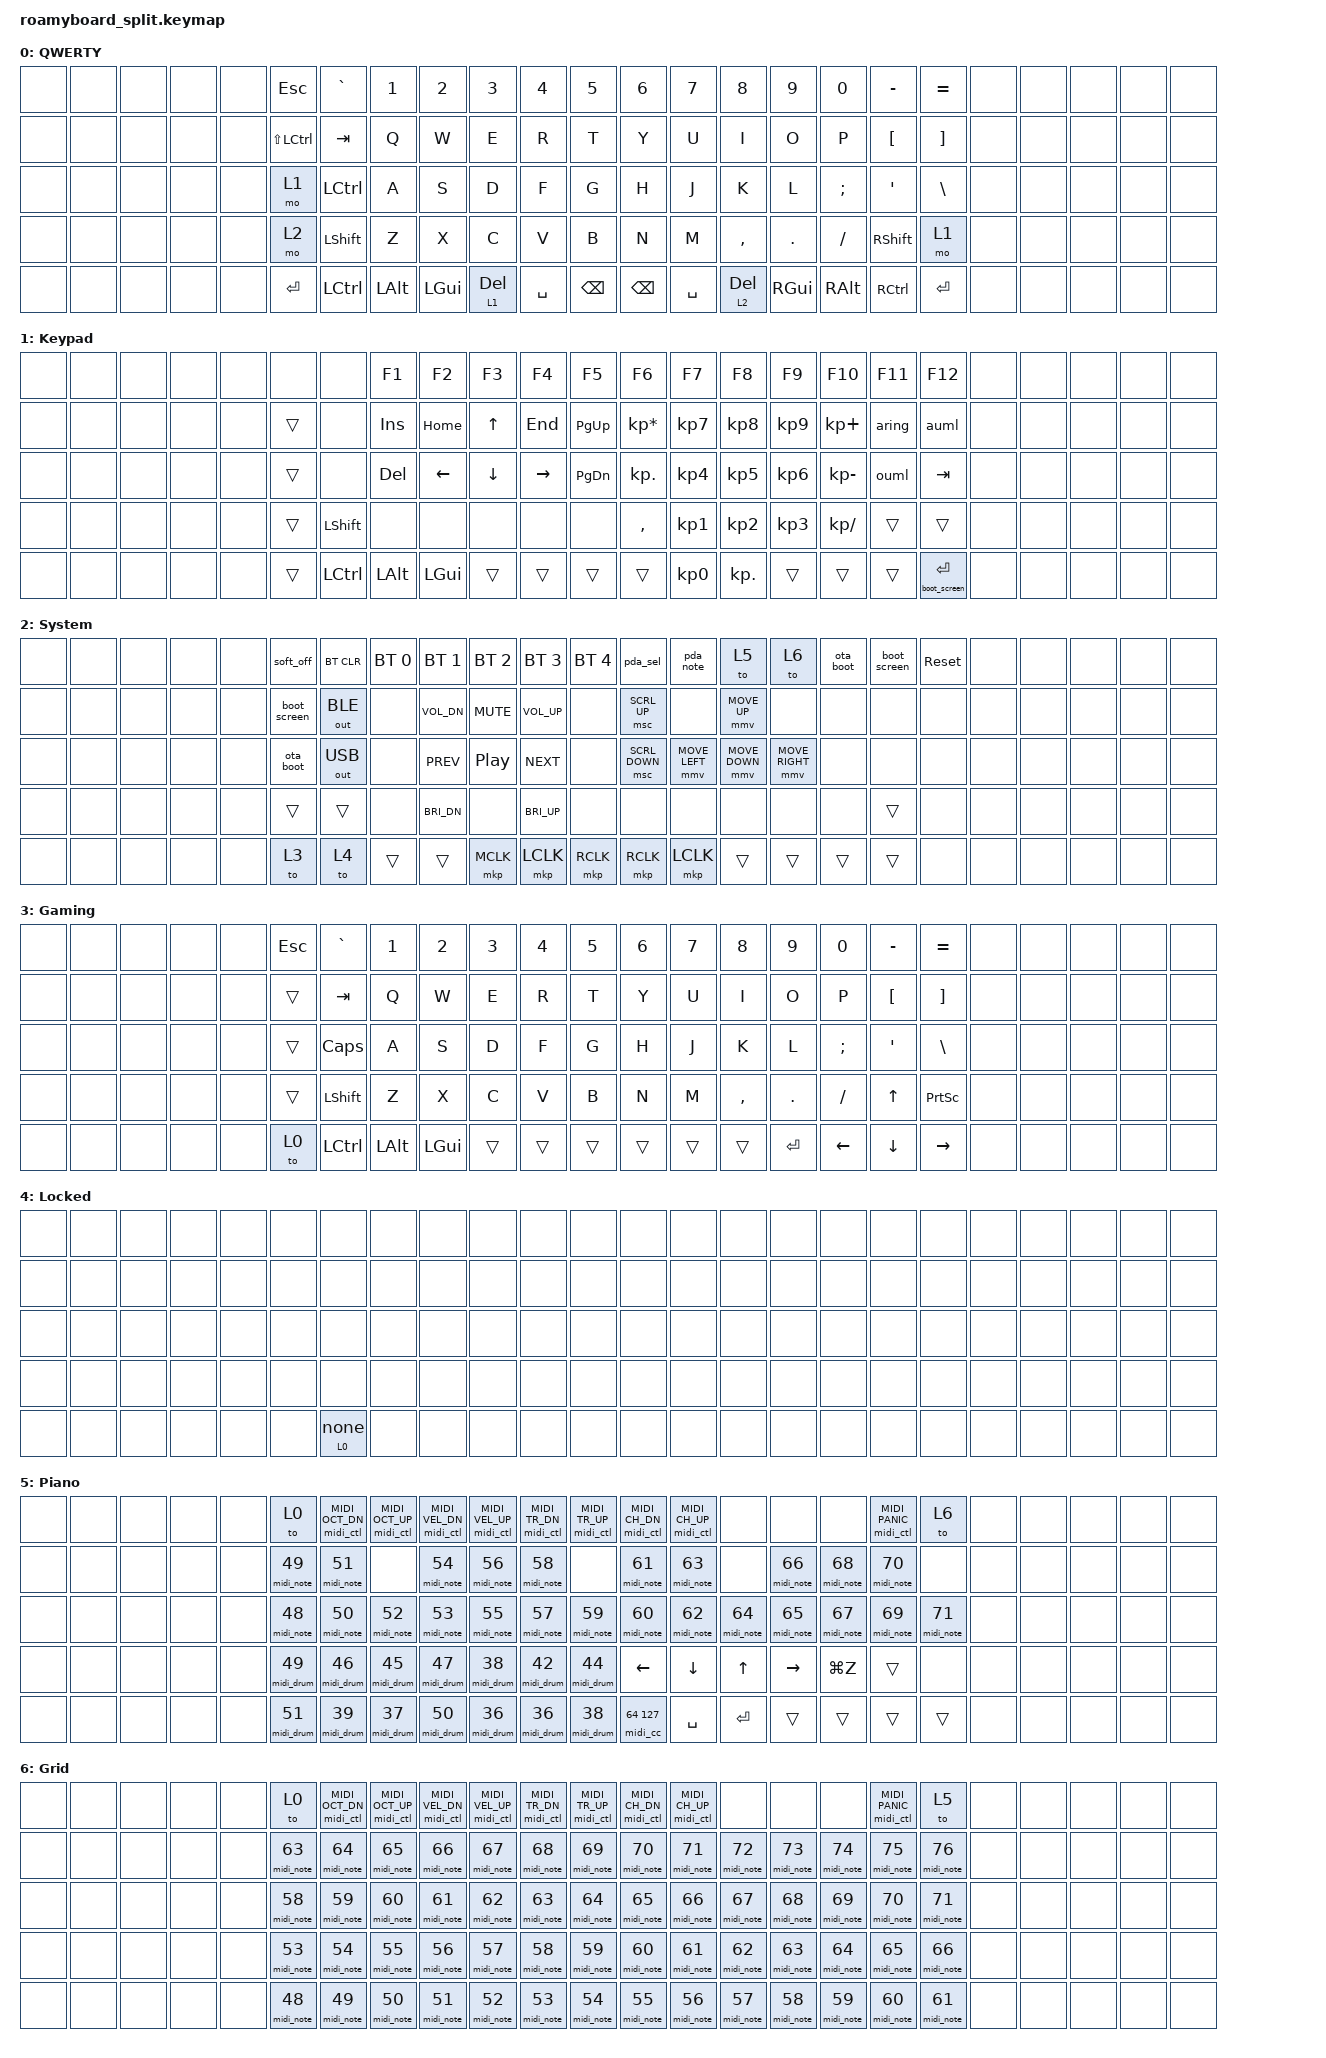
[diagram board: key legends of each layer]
/*
 * Keymap for the split roamyboard; zmk/Layout.md shows the layers and explains them.
 *
 * Positions are 5 rows of 24 keymap columns: row * 24 + column, one line per row,
 * with a gap between the left half (0 to 11) and the right half (12 to 23). Each half
 * uses 7 key modules: the left half keymap columns 5 to 11, the right half 12 to 18.
 * Keys of key modules that are not attached never fire.
 *
 * SPDX-License-Identifier: MIT
 */

#include <behaviors.dtsi>
#include <behaviors/boot_screen.dtsi>
#include <behaviors/midi.dtsi>
#include <behaviors/pda.dtsi>
#include <dt-bindings/zmk/bt.h>
#include <dt-bindings/zmk/keys.h>
#include <dt-bindings/zmk/outputs.h>
#include <dt-bindings/zmk/pointing.h>

/ {
    behaviors {
        // Tap for Return; hold past the tapping term for the bootloader.
        ret_boot: ret_boot {
            compatible = "zmk,behavior-hold-tap";
            display-name = "Return or bootloader";
            #binding-cells = <2>;
            flavor = "tap-preferred";
            tapping-term-ms = <1500>;
            bindings = <&boot_screen>, <&kp>;
        };
        // Tap for forward delete, hold for a layer; a hold past the tapping term never deletes.
        thumb_lt: thumb_lt {
            compatible = "zmk,behavior-hold-tap";
            display-name = "Delete or layer";
            #binding-cells = <2>;
            flavor = "hold-preferred";
            tapping-term-ms = <200>;
            bindings = <&mo>, <&kp>;
        };
        // Hold for 1 s to leave the Locked layer; a tap does nothing.
        unlock: unlock {
            compatible = "zmk,behavior-hold-tap";
            display-name = "Unlock";
            #binding-cells = <2>;
            flavor = "tap-preferred";
            tapping-term-ms = <1000>;
            bindings = <&to>, <&none>;
        };
        // Swedish letters typed as macOS Option dead keys on ABC - Extended; zmk/Layout.md explains.
        aring_l: aring_l {
            compatible = "zmk,behavior-macro";
            display-name = "Swedish a-ring";
            #binding-cells = <0>;
            wait-ms = <0>;
            tap-ms = <10>;
            bindings = <&macro_tap &kp LA(K) &kp A>;
        };
        aring_u: aring_u {
            compatible = "zmk,behavior-macro";
            display-name = "Swedish capital A-ring";
            #binding-cells = <0>;
            wait-ms = <0>;
            tap-ms = <10>;
            bindings = <&macro_tap &kp LA(K) &kp LS(A)>;
        };
        auml_l: auml_l {
            compatible = "zmk,behavior-macro";
            display-name = "Swedish a-umlaut";
            #binding-cells = <0>;
            wait-ms = <0>;
            tap-ms = <10>;
            bindings = <&macro_tap &kp LA(U) &kp A>;
        };
        auml_u: auml_u {
            compatible = "zmk,behavior-macro";
            display-name = "Swedish capital A-umlaut";
            #binding-cells = <0>;
            wait-ms = <0>;
            tap-ms = <10>;
            bindings = <&macro_tap &kp LA(U) &kp LS(A)>;
        };
        ouml_l: ouml_l {
            compatible = "zmk,behavior-macro";
            display-name = "Swedish o-umlaut";
            #binding-cells = <0>;
            wait-ms = <0>;
            tap-ms = <10>;
            bindings = <&macro_tap &kp LA(U) &kp O>;
        };
        ouml_u: ouml_u {
            compatible = "zmk,behavior-macro";
            display-name = "Swedish capital O-umlaut";
            #binding-cells = <0>;
            wait-ms = <0>;
            tap-ms = <10>;
            bindings = <&macro_tap &kp LA(U) &kp LS(O)>;
        };
        aring: aring {
            compatible = "zmk,behavior-mod-morph";
            display-name = "Swedish a-ring";
            #binding-cells = <0>;
            bindings = <&aring_l>, <&aring_u>;
            mods = <(MOD_LSFT|MOD_RSFT)>;
        };
        auml: auml {
            compatible = "zmk,behavior-mod-morph";
            display-name = "Swedish a-umlaut";
            #binding-cells = <0>;
            bindings = <&auml_l>, <&auml_u>;
            mods = <(MOD_LSFT|MOD_RSFT)>;
        };
        ouml: ouml {
            compatible = "zmk,behavior-mod-morph";
            display-name = "Swedish o-umlaut";
            #binding-cells = <0>;
            bindings = <&ouml_l>, <&ouml_u>;
            mods = <(MOD_LSFT|MOD_RSFT)>;
        };
    };

    keymap {
        compatible = "zmk,keymap";

        qwerty {
            display-name = "QWERTY";
            bindings = <
            &none  &none  &none  &none  &none  &kp ESC        &kp GRAVE  &kp N1    &kp N2    &kp N3           &kp N4     &kp N5        &kp N6    &kp N7     &kp N8           &kp N9    &kp N0    &kp MINUS  &kp EQUAL  &none  &none  &none  &none  &none
            &none  &none  &none  &none  &none  &kp LS(LCTRL)  &kp TAB    &kp Q     &kp W     &kp E            &kp R      &kp T         &kp Y     &kp U      &kp I            &kp O     &kp P     &kp LBKT   &kp RBKT   &none  &none  &none  &none  &none
            &none  &none  &none  &none  &none  &mo 1          &kp LCTRL  &kp A     &kp S     &kp D            &kp F      &kp G         &kp H     &kp J      &kp K            &kp L     &kp SEMI  &kp SQT    &kp BSLH   &none  &none  &none  &none  &none
            &none  &none  &none  &none  &none  &mo 2          &kp LSHFT  &kp Z     &kp X     &kp C            &kp V      &kp B         &kp N     &kp M      &kp COMMA        &kp DOT   &kp FSLH  &kp RSHFT  &mo 1      &none  &none  &none  &none  &none
            &none  &none  &none  &none  &none  &kp RET        &kp LCTRL  &kp LALT  &kp LGUI  &thumb_lt 1 DEL  &kp SPACE  &kp BSPC      &kp BSPC  &kp SPACE  &thumb_lt 2 DEL  &kp RGUI  &kp RALT  &kp RCTRL  &kp RET    &none  &none  &none  &none  &none
            >;
        };

        keypad_layer: keypad {
            display-name = "Keypad";
            bindings = <
            &none  &none  &none  &none  &none  &none   &none      &kp F1    &kp F2    &kp F3    &kp F4     &kp F5         &kp F6           &kp F7     &kp F8      &kp F9     &kp F10        &kp F11  &kp F12          &none  &none  &none  &none  &none
            &none  &none  &none  &none  &none  &trans  &none      &kp INS   &kp HOME  &kp UP    &kp END    &kp PG_UP      &kp KP_MULTIPLY  &kp KP_N7  &kp KP_N8   &kp KP_N9  &kp KP_PLUS    &aring   &auml            &none  &none  &none  &none  &none
            &none  &none  &none  &none  &none  &trans  &none      &kp DEL   &kp LEFT  &kp DOWN  &kp RIGHT  &kp PG_DN      &kp KP_DOT       &kp KP_N4  &kp KP_N5   &kp KP_N6  &kp KP_MINUS   &ouml    &kp TAB          &none  &none  &none  &none  &none
            &none  &none  &none  &none  &none  &trans  &kp LSHFT  &none     &none     &none     &none      &none          &kp COMMA        &kp KP_N1  &kp KP_N2   &kp KP_N3  &kp KP_DIVIDE  &trans   &trans           &none  &none  &none  &none  &none
            &none  &none  &none  &none  &none  &trans  &kp LCTRL  &kp LALT  &kp LGUI  &trans    &trans     &trans         &trans           &kp KP_N0  &kp KP_DOT  &trans     &trans         &trans   &ret_boot 0 RET  &none  &none  &none  &none  &none
            >;
        };

        system_layer: system {
            display-name = "System";
            bindings = <
            &none  &none  &none  &none  &none  &soft_off     &bt BT_CLR    &bt BT_SEL 0  &bt BT_SEL 1  &bt BT_SEL 2  &bt BT_SEL 3  &bt BT_SEL 4      &pda_sel        &pda_note       &to 5           &to 6            &ota_boot  &boot_screen  &sys_reset  &none  &none  &none  &none  &none
            &none  &none  &none  &none  &none  &boot_screen  &out OUT_BLE  &none         &kp C_VOL_DN  &kp C_MUTE    &kp C_VOL_UP  &none             &msc SCRL_UP    &none           &mmv MOVE_UP    &none            &none      &none         &none       &none  &none  &none  &none  &none
            &none  &none  &none  &none  &none  &ota_boot     &out OUT_USB  &none         &kp C_PREV    &kp C_PP      &kp C_NEXT    &none             &msc SCRL_DOWN  &mmv MOVE_LEFT  &mmv MOVE_DOWN  &mmv MOVE_RIGHT  &none      &none         &none       &none  &none  &none  &none  &none
            &none  &none  &none  &none  &none  &trans        &trans        &none         &kp C_BRI_DN  &none         &kp C_BRI_UP  &none             &none           &none           &none           &none            &none      &trans        &none       &none  &none  &none  &none  &none
            &none  &none  &none  &none  &none  &to 3         &to 4         &trans        &trans        &mkp MCLK     &mkp LCLK     &mkp RCLK         &mkp RCLK       &mkp LCLK       &trans          &trans           &trans     &trans        &none       &none  &none  &none  &none  &none
            >;
        };

        gaming_layer: gaming {
            display-name = "Gaming";
            bindings = <
            &none  &none  &none  &none  &none  &kp ESC  &kp GRAVE  &kp N1    &kp N2    &kp N3  &kp N4  &kp N5      &kp N6  &kp N7  &kp N8     &kp N9   &kp N0    &kp MINUS  &kp EQUAL  &none  &none  &none  &none  &none
            &none  &none  &none  &none  &none  &trans   &kp TAB    &kp Q     &kp W     &kp E   &kp R   &kp T       &kp Y   &kp U   &kp I      &kp O    &kp P     &kp LBKT   &kp RBKT   &none  &none  &none  &none  &none
            &none  &none  &none  &none  &none  &trans   &kp CAPS   &kp A     &kp S     &kp D   &kp F   &kp G       &kp H   &kp J   &kp K      &kp L    &kp SEMI  &kp SQT    &kp BSLH   &none  &none  &none  &none  &none
            &none  &none  &none  &none  &none  &trans   &kp LSHFT  &kp Z     &kp X     &kp C   &kp V   &kp B       &kp N   &kp M   &kp COMMA  &kp DOT  &kp FSLH  &kp UP     &kp PSCRN  &none  &none  &none  &none  &none
            &none  &none  &none  &none  &none  &to 0    &kp LCTRL  &kp LALT  &kp LGUI  &trans  &trans  &trans      &trans  &trans  &trans     &kp RET  &kp LEFT  &kp DOWN   &kp RIGHT  &none  &none  &none  &none  &none
            >;
        };

        // Every key does nothing except the left half's row 5 Control key, which returns to QWERTY when held for 1 s.
        locked_layer: locked {
            display-name = "Locked";
            bindings = <
            &none  &none  &none  &none  &none  &none  &none        &none  &none  &none  &none  &none      &none  &none  &none  &none  &none  &none  &none  &none  &none  &none  &none  &none
            &none  &none  &none  &none  &none  &none  &none        &none  &none  &none  &none  &none      &none  &none  &none  &none  &none  &none  &none  &none  &none  &none  &none  &none
            &none  &none  &none  &none  &none  &none  &none        &none  &none  &none  &none  &none      &none  &none  &none  &none  &none  &none  &none  &none  &none  &none  &none  &none
            &none  &none  &none  &none  &none  &none  &none        &none  &none  &none  &none  &none      &none  &none  &none  &none  &none  &none  &none  &none  &none  &none  &none  &none
            &none  &none  &none  &none  &none  &none  &unlock 0 0  &none  &none  &none  &none  &none      &none  &none  &none  &none  &none  &none  &none  &none  &none  &none  &none  &none
            >;
        };

        // MIDI: two octaves of piano keys from C3, drums on channel 10, and DAW keys; docs/midi.md.
        piano_layer: piano {
            display-name = "Piano";
            bindings = <
            &none  &none  &none  &none  &none  &to 0          &midi_ctl MIDI_OCT_DN  &midi_ctl MIDI_OCT_UP  &midi_ctl MIDI_VEL_DN  &midi_ctl MIDI_VEL_UP  &midi_ctl MIDI_TR_DN  &midi_ctl MIDI_TR_UP      &midi_ctl MIDI_CH_DN  &midi_ctl MIDI_CH_UP  &none          &none          &none          &midi_ctl MIDI_PANIC  &to 6          &none  &none  &none  &none  &none
            &none  &none  &none  &none  &none  &midi_note 49  &midi_note 51          &none                  &midi_note 54          &midi_note 56          &midi_note 58         &none      &midi_note 61         &midi_note 63         &none          &midi_note 66  &midi_note 68  &midi_note 70         &none          &none  &none  &none  &none  &none
            &none  &none  &none  &none  &none  &midi_note 48  &midi_note 50          &midi_note 52          &midi_note 53          &midi_note 55          &midi_note 57         &midi_note 59      &midi_note 60         &midi_note 62         &midi_note 64  &midi_note 65  &midi_note 67  &midi_note 69         &midi_note 71  &none  &none  &none  &none  &none
            &none  &none  &none  &none  &none  &midi_drum 49  &midi_drum 46          &midi_drum 45          &midi_drum 47          &midi_drum 38          &midi_drum 42         &midi_drum 44      &kp LEFT              &kp DOWN              &kp UP         &kp RIGHT      &kp LG(Z)      &trans                &none          &none  &none  &none  &none  &none
            &none  &none  &none  &none  &none  &midi_drum 51  &midi_drum 39          &midi_drum 37          &midi_drum 50          &midi_drum 36          &midi_drum 36         &midi_drum 38      &midi_cc 64 127       &kp SPACE             &kp RET        &trans         &trans         &trans                &trans         &none  &none  &none  &none  &none
            >;
        };

        // MIDI: a semitone per column and a fourth per row, from C3 at the left end of row 5; docs/midi.md.
        grid_layer: grid {
            display-name = "Grid";
            bindings = <
            &none  &none  &none  &none  &none  &to 0          &midi_ctl MIDI_OCT_DN  &midi_ctl MIDI_OCT_UP  &midi_ctl MIDI_VEL_DN  &midi_ctl MIDI_VEL_UP  &midi_ctl MIDI_TR_DN  &midi_ctl MIDI_TR_UP      &midi_ctl MIDI_CH_DN  &midi_ctl MIDI_CH_UP  &none          &none          &none          &midi_ctl MIDI_PANIC  &to 5          &none  &none  &none  &none  &none
            &none  &none  &none  &none  &none  &midi_note 63  &midi_note 64          &midi_note 65          &midi_note 66          &midi_note 67          &midi_note 68         &midi_note 69      &midi_note 70         &midi_note 71         &midi_note 72  &midi_note 73  &midi_note 74  &midi_note 75         &midi_note 76  &none  &none  &none  &none  &none
            &none  &none  &none  &none  &none  &midi_note 58  &midi_note 59          &midi_note 60          &midi_note 61          &midi_note 62          &midi_note 63         &midi_note 64      &midi_note 65         &midi_note 66         &midi_note 67  &midi_note 68  &midi_note 69  &midi_note 70         &midi_note 71  &none  &none  &none  &none  &none
            &none  &none  &none  &none  &none  &midi_note 53  &midi_note 54          &midi_note 55          &midi_note 56          &midi_note 57          &midi_note 58         &midi_note 59      &midi_note 60         &midi_note 61         &midi_note 62  &midi_note 63  &midi_note 64  &midi_note 65         &midi_note 66  &none  &none  &none  &none  &none
            &none  &none  &none  &none  &none  &midi_note 48  &midi_note 49          &midi_note 50          &midi_note 51          &midi_note 52          &midi_note 53         &midi_note 54      &midi_note 55         &midi_note 56         &midi_note 57  &midi_note 58  &midi_note 59  &midi_note 60         &midi_note 61  &none  &none  &none  &none  &none
            >;
        };
    };
};
